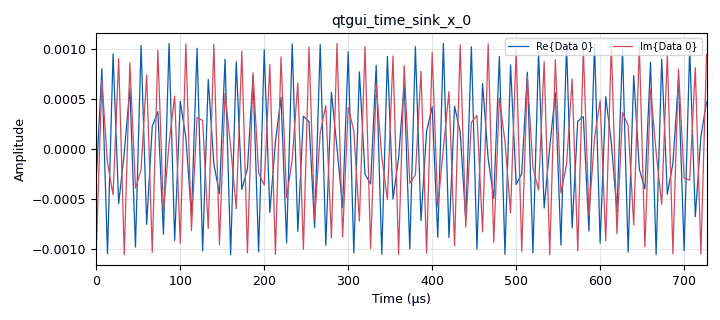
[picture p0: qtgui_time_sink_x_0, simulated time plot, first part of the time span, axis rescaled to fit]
options:
  parameters:
    author: Abraxas3d
    description: Chirp Transmitter for PLB
    generate_options: qt_gui
    id: top_block
    output_language: python
    title: Chirp Transmitter
  states: {}

blocks:
- name: amplitude
  id: variable_function_probe
  parameters:
    block_id: aa
    function_name: level
    poll_rate: '1000'
    value: '0'
  states: {}
- name: carrier
  id: variable
  parameters:
    value: (interpolation_rate/2) - samp_rate
  states: {}
- name: doppler
  id: variable_function_probe
  parameters:
    block_id: dd
    function_name: level
    poll_rate: '1000'
    value: '0'
  states: {}
- name: doppler
  id: variable
  parameters:
    value: '0'
  states: {state: disabled}
- name: interpolation_factor
  id: variable
  parameters:
    value: '10'
  states: {}
- name: interpolation_rate
  id: variable
  parameters:
    value: samp_rate*interpolation_factor
  states: {}
- name: pi
  id: variable
  parameters:
    value: '3.14159'
  states: {}
- name: samp_rate
  id: variable
  parameters:
    value: '15000'
  states: {}
- name: aa
  id: blocks_probe_signal_x
  parameters:
    type: float
  states: {}
- name: analog_noise_source_x_0
  id: analog_noise_source_x
  parameters:
    amp: '0.1'
    noise_type: analog.GR_GAUSSIAN
    seed: '0'
    type: complex
  states: {}
- name: analog_sig_source_x_0
  id: analog_sig_source_x
  parameters:
    amp: (13/19)/5
    freq: '1000'
    offset: '0'
    phase: '0'
    samp_rate: samp_rate
    type: complex
    waveform: analog.GR_SIN_WAVE
  states: {}
- name: analog_sig_source_x_1
  id: analog_sig_source_x
  parameters:
    amp: '0'
    freq: '2000'
    offset: '0'
    phase: '0'
    samp_rate: samp_rate
    type: complex
    waveform: analog.GR_SIN_WAVE
  states: {}
- name: analog_sig_source_x_1_0
  id: analog_sig_source_x
  parameters:
    amp: (3/19)/5
    freq: '3000'
    offset: '0'
    phase: '0'
    samp_rate: samp_rate
    type: complex
    waveform: analog.GR_SIN_WAVE
  states: {}
- name: analog_sig_source_x_1_0_0
  id: analog_sig_source_x
  parameters:
    amp: (7/19)/5
    freq: '4000'
    offset: '0'
    phase: '0'
    samp_rate: samp_rate
    type: complex
    waveform: analog.GR_SIN_WAVE
  states: {}
- name: analog_sig_source_x_1_0_0_0
  id: analog_sig_source_x
  parameters:
    amp: (19/19)/5
    freq: '5000'
    offset: '0'
    phase: '0'
    samp_rate: samp_rate
    type: complex
    waveform: analog.GR_SIN_WAVE
  states: {}
- name: analog_sig_source_x_2
  id: analog_sig_source_x
  parameters:
    amp: amplitude
    freq: carrier+doppler
    offset: '0'
    phase: '0'
    samp_rate: interpolation_rate
    type: complex
    waveform: analog.GR_COS_WAVE
  states: {}
- name: analog_sig_source_x_3
  id: analog_sig_source_x
  parameters:
    amp: '2400'
    comment: '0.00005'
    freq: '0.00004'
    offset: '0'
    phase: '0'
    samp_rate: interpolation_rate
    type: float
    waveform: analog.GR_SAW_WAVE
  states: {}
- name: analog_sig_source_x_4
  id: analog_sig_source_x
  parameters:
    amp: '5000'
    freq: '.1'
    offset: '-2500'
    phase: '0'
    samp_rate: interpolation_rate
    type: float
    waveform: analog.GR_SAW_WAVE
  states: {state: disabled}
- name: analog_sig_source_x_5
  id: analog_sig_source_x
  parameters:
    amp: '0.7'
    freq: '0.00004'
    offset: '0'
    phase: '0'
    samp_rate: interpolation_rate
    type: float
    waveform: analog.GR_SIN_WAVE
  states: {}
- name: band_pass_filter_0_0_0
  id: band_pass_filter
  parameters:
    gain: '1'
    high_cutoff_freq: carrier + 6000 + doppler - 2000*(0.7-amplitude)
    interp: '1'
    low_cutoff_freq: carrier - 6000 + doppler - 2000*(0.7-amplitude)
    samp_rate: interpolation_rate
    type: interp_fir_filter_ccf
    width: '2000'
    win: firdes.WIN_HAMMING
  states: {}
- name: blocks_add_xx_0
  id: blocks_add_xx
  parameters:
    num_inputs: '6'
    type: complex
  states: {}
- name: blocks_add_xx_1
  id: blocks_add_xx
  parameters:
    type: complex
  states: {}
- name: blocks_add_xx_2
  id: blocks_add_xx
  parameters:
    type: complex
  states: {state: disabled}
- name: blocks_complex_to_float_0
  id: blocks_complex_to_float
  parameters: {}
  states: {}
- name: blocks_multiply_xx_0
  id: blocks_multiply_xx
  parameters:
    type: complex
  states: {}
- name: blocks_repeat_0
  id: blocks_repeat
  parameters:
    interp: interpolation_factor
    type: complex
  states: {}
- name: blocks_repeat_1
  id: blocks_repeat
  parameters:
    interp: '7'
    type: float
  states: {}
- name: blocks_repeat_1_0
  id: blocks_repeat
  parameters:
    interp: '2'
    type: float
  states: {}
- name: blocks_vco_c_0
  id: blocks_vco_c
  parameters:
    samp_rate: interpolation_rate
  states: {state: disabled}
- name: blocks_wavfile_sink_0
  id: blocks_wavfile_sink
  parameters:
    bits_per_sample: '8'
    file: /home/abraxas3d/Documents/Deviations/ChristmasValley.wav
    nchan: '2'
    samp_rate: interpolation_rate
  states: {}
- name: dd
  id: blocks_probe_signal_x
  parameters:
    type: float
  states: {}
- name: paint_image_source_0
  id: paint_image_source
  parameters:
    autocontrast: '1'
    bt709_map: '1'
    image_file: /home/abraxas3d/Documents/Deviations/MayanCalendar20160513.png
    image_flip: '0'
    image_invert: '0'
    repeatmode: '1'
  states: {}
- name: paint_paint_bc_0
  id: paint_paint_bc
  parameters:
    equalization: EQUALIZATION_OFF
    randomsrc: INTERNAL
    repeats: '1'
    width: '345'
  states: {}
- name: qtgui_number_sink_0
  id: qtgui_number_sink
  parameters:
    graph_type: qtgui.NUM_GRAPH_HORIZ
    gui_hint: 1,0
    type: float
  states: {state: disabled}
- name: qtgui_sink_x_2_0_0
  id: qtgui_sink_x
  parameters:
    bw: interpolation_rate
    fc: '0'
    fftsize: 1024*8
    gui_hint: 0,0
    name: On the Air
    plotconst: 'False'
    showports: 'True'
    showrf: 'True'
    type: complex
    wintype: firdes.WIN_BLACKMAN_hARRIS
  states: {}
- name: qtgui_time_sink_x_0
  id: qtgui_time_sink_x
  parameters:
    gui_hint: 1,0
    size: '1024'
    srate: interpolation_rate
    type: complex
  states: {}
- name: qtgui_waterfall_sink_x_0
  id: qtgui_waterfall_sink_x
  parameters:
    bw: samp_rate
    fc: '0'
    fftsize: '1024'
    gui_hint: 1,0
    type: complex
    wintype: firdes.WIN_BLACKMAN_hARRIS
  states: {state: disabled}
- name: uhd_usrp_sink_0
  id: uhd_usrp_sink
  parameters:
    ant0: TX/RX
    center_freq0: '430000000'
    dev_args: '""'
    gain0: '0'
    len_tag_name: ''
    norm_gain0: 'False'
    samp_rate: samp_rate
    sync: sync
    type: fc32
  states: {}

connections:
- [analog_noise_source_x_0, '0', blocks_add_xx_1, '0']
- [analog_sig_source_x_0, '0', blocks_add_xx_0, '0']
- [analog_sig_source_x_1, '0', blocks_add_xx_0, '1']
- [analog_sig_source_x_1_0, '0', blocks_add_xx_0, '2']
- [analog_sig_source_x_1_0_0, '0', blocks_add_xx_0, '3']
- [analog_sig_source_x_1_0_0_0, '0', blocks_add_xx_0, '4']
- [analog_sig_source_x_2, '0', blocks_add_xx_2, '0']
- [analog_sig_source_x_2, '0', blocks_multiply_xx_0, '1']
- [analog_sig_source_x_2, '0', qtgui_time_sink_x_0, '0']
- [analog_sig_source_x_3, '0', blocks_repeat_1_0, '0']
- [analog_sig_source_x_4, '0', blocks_vco_c_0, '0']
- [analog_sig_source_x_5, '0', blocks_repeat_1, '0']
- [band_pass_filter_0_0_0, '0', blocks_add_xx_1, '1']
- [blocks_add_xx_0, '0', blocks_repeat_0, '0']
- [blocks_add_xx_0, '0', qtgui_waterfall_sink_x_0, '0']
- [blocks_add_xx_1, '0', blocks_complex_to_float_0, '0']
- [blocks_add_xx_1, '0', qtgui_sink_x_2_0_0, '0']
- [blocks_add_xx_1, '0', uhd_usrp_sink_0, '0']
- [blocks_add_xx_2, '0', blocks_multiply_xx_0, '1']
- [blocks_complex_to_float_0, '0', blocks_wavfile_sink_0, '0']
- [blocks_complex_to_float_0, '1', blocks_wavfile_sink_0, '1']
- [blocks_multiply_xx_0, '0', band_pass_filter_0_0_0, '0']
- [blocks_repeat_0, '0', blocks_multiply_xx_0, '0']
- [blocks_repeat_1, '0', aa, '0']
- [blocks_repeat_1_0, '0', dd, '0']
- [blocks_vco_c_0, '0', blocks_add_xx_2, '1']
- [paint_image_source_0, '0', paint_paint_bc_0, '0']
- [paint_paint_bc_0, '0', blocks_add_xx_0, '5']

metadata:
  file_format: 1
